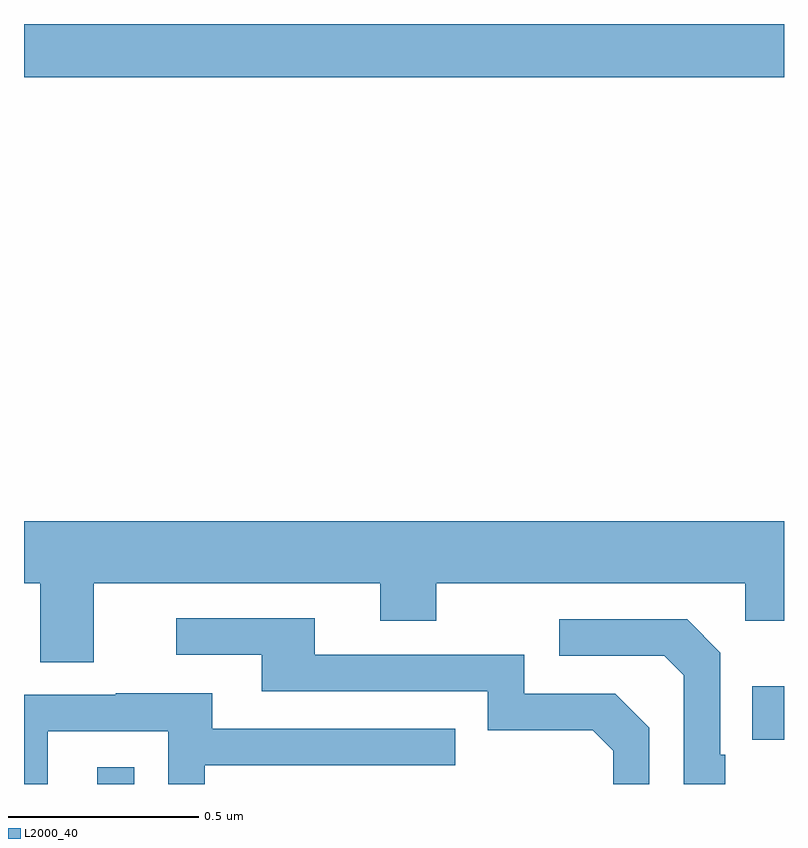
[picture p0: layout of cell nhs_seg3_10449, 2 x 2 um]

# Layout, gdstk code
import gdstk
lib = gdstk.Library(unit=1e-6, precision=1e-09)
def R(c, l, rs):  # rectangles x0, y0, x1, y1
    for r in rs: c.add(gdstk.rectangle(r[:2], r[2:], *l))
def P(c, l, *ps):  # polygons
    for p in ps: c.add(gdstk.Polygon(p, *l))
L2000_40 = (2000, 40)

nhs_seg3_10449 = lib.new_cell('nhs_seg3_10449')
R(nhs_seg3_10449, L2000_40, [(241.193,688.4,241.29,688.444), (242.917,688.517,243,688.657), (241,690.26,243,690.4)])
P(nhs_seg3_10449, L2000_40, [(241,688.928),(241.043,688.928),(241.043,688.72),(241.183,688.72),(241.183,688.928),(241.937,688.928),(241.937,688.829),(242.085,688.829),(242.085,688.928),(242.898,688.928),(242.898,688.829),(243,688.829),(243,689.092),(241,689.092)],
  [(242.646,688.548),(242.556,688.638),(242.316,688.638),(242.316,688.74),(241.765,688.74),(241.765,688.836),(241.401,688.836),(241.401,688.74),(241.625,688.74),(241.625,688.644),(242.22,688.644),(242.22,688.541),(242.497,688.541),(242.55,688.488),(242.55,688.4),(242.646,688.4)],
  [(242.845,688.477),(242.832,688.477),(242.832,688.746),(242.745,688.833),(242.409,688.833),(242.409,688.737),(242.685,688.737),(242.736,688.686),(242.736,688.4),(242.845,688.4)],
  [(241.062,688.539),(241.38,688.539),(241.38,688.4),(241.476,688.4),(241.476,688.449),(242.135,688.449),(242.135,688.545),(241.495,688.545),(241.495,688.639),(241.241,688.639),(241.241,688.635),(241,688.635),(241,688.4),(241.062,688.4)])

lib.write_gds('nhs_seg3_10449.gds')
